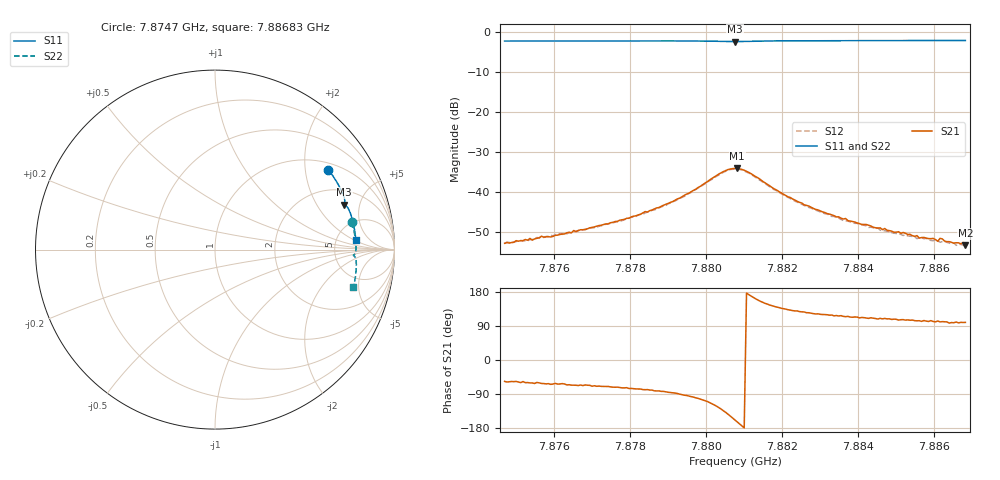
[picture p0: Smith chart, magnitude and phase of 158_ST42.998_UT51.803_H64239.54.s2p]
#  HZ  S  DB  R  50.00
! Rohde & Schwarz Vector Network Analyzer
! Rohde-Schwarz,ZNB20-2Port,1311601062101988,3.16
! Created: UTC 1/12/2023, 6:41:04 PM
! freq[Hz]  db:S11  ang:S11  db:S21  ang:S21  db:S12  ang:S12  db:S22  ang:S22
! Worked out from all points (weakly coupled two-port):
!   201 points, 7.8747 GHz to 7.88683 GHz, reference 50 ohm
!   highest |S21| = -34.04 dB at 7.88082 GHz (marker M1); lowest = -53.2 dB at 7.88683 GHz (marker M2)
!   lowest |S11| = -2.4 dB at 7.88076 GHz (marker M3), VSWR 7.42, Z = 148 + j177 ohm
!   |S11| at or under -10 dB: nowhere
!   |S22| runs from -2.3 to -1.9 dB; largest |S21 - S12| = 0.0013
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7.874695e9  -2.24 35.3  -52.77 -56.4  -52.82 -59.8  -2.18 11.3
7.876758e9  -2.21 29.6  -49.38 -67.4  -49.41 -69.5  -2.13 6.4
7.877728e9  -2.19 27.0  -46.99 -72.5  -47.31 -75.9  -2.11 4.1
7.878759e9  -2.19 24.1  -43.82 -81.6  -43.91 -85.7  -2.09 1.7
7.879426e9  -2.20 22.2  -40.79 -92.9  -41.04 -95.6  -2.10 0.1
7.880458e9  -2.32 19.5  -34.84 -134.2  -35.01 -137.3  -2.21 -2.2
7.880761e9  -2.36 19.2  -34.06 -158.3  -34.22 -161.6  -2.25 -2.4
7.880821e9  -2.35 19.2  -34.04 -163.7  -34.22 -167.1  -2.25 -2.4
7.881125e9  -2.31 18.9  -35.06 172.4  -35.23 169.2  -2.20 -2.6
7.882156e9  -2.17 16.2  -41.15 132.7  -41.27 129.6  -2.05 -4.8
7.882823e9  -2.14 14.3  -44.05 122.4  -44.24 119.5  -2.02 -6.3
7.883612e9  -2.12 12.1  -46.69 115.1  -47.03 112.7  -2.00 -8.2
7.884825e9  -2.10 8.9  -49.61 108.8  -49.89 105.7  -1.97 -10.9
7.885552e9  -2.10 7.0  -50.85 103.5  -51.61 100.0  -1.96 -12.5
7.885613e9  -2.10 6.9  -51.47 103.7  -51.38 101.5  -1.96 -12.6
7.885977e9  -2.09 5.9  -51.55 101.7  -52.13 99.5  -1.95 -13.4
7.886098e9  -2.09 5.6  -52.26 103.0  -52.16 98.1  -1.95 -13.7
7.886159e9  -2.09 5.5  -51.53 100.6  -52.50 98.6  -1.96 -13.8
7.886523e9  -2.09 4.5  -52.74 98.3  -52.69 97.7  -1.95 -14.6
7.886584e9  -2.09 4.3  -52.63 100.3  -53.28 96.4  -1.95 -14.7
7.886766e9  -2.08 3.9  -52.57 99.0  -53.22 95.8  -1.95 -15.1
7.886826e9  -2.09 3.7  -53.24 99.2  -53.48 96.6  -1.95 -15.3
